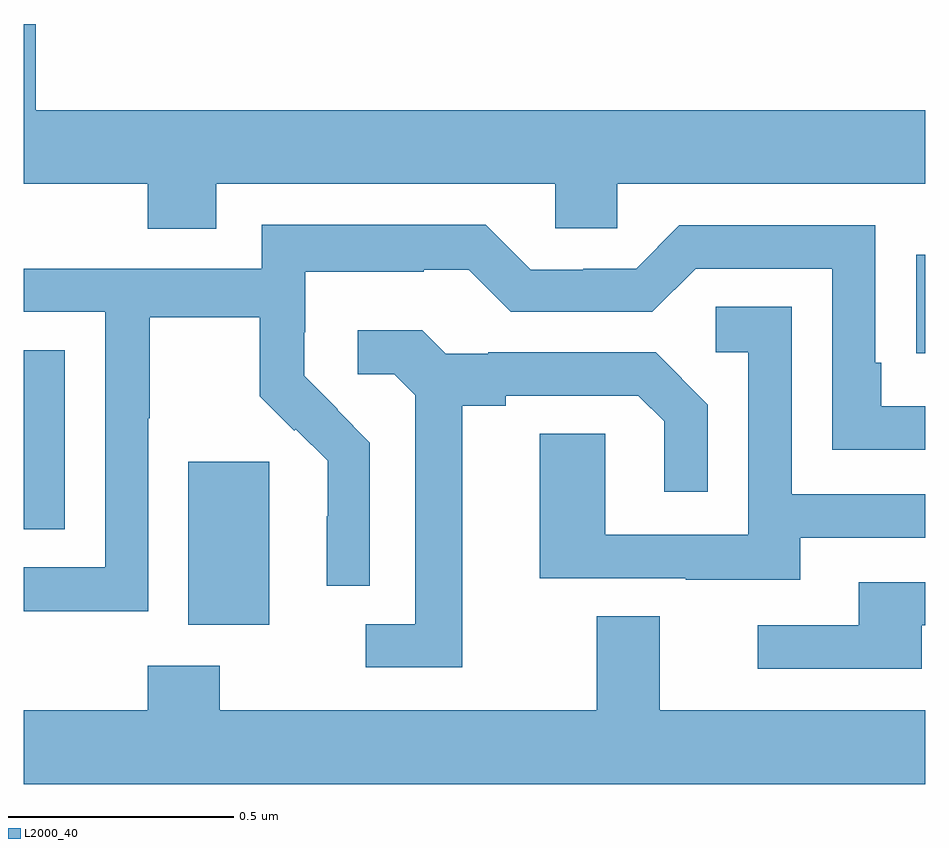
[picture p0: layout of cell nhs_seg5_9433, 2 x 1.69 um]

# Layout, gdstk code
import gdstk
lib = gdstk.Library(unit=1e-6, precision=1e-09)
def R(c, l, rs):  # rectangles x0, y0, x1, y1
    for r in rs: c.add(gdstk.rectangle(r[:2], r[2:], *l))
def P(c, l, *ps):  # polygons
    for p in ps: c.add(gdstk.Polygon(p, *l))
L2000_40 = (2000, 40)

nhs_seg5_9433 = lib.new_cell('nhs_seg5_9433')
R(nhs_seg5_9433, L2000_40, [(234.365,838.466,234.544,838.827), (234,838.678,234.091,839.075), (235.981,839.068,236,839.287)])
P(nhs_seg5_9433, L2000_40, [(234.427,839.444),(235.179,839.444),(235.179,839.346),(235.317,839.346),(235.317,839.444),(236,839.444),(236,839.608),(234.026,839.608),(234.026,839.799),(234,839.799),(234,839.444),(234.275,839.444),(234.275,839.345),(234.427,839.345)],
  [(234.276,838.924),(234.279,838.924),(234.279,839.148),(234.523,839.148),(234.523,838.973),(234.6,838.896),(234.603,838.899),(234.674,838.829),(234.674,838.706),(234.672,838.706),(234.672,838.552),(234.768,838.552),(234.768,838.87),(234.695,838.943),(234.696,838.944),(234.622,839.018),(234.622,839.115),(234.624,839.115),(234.624,839.249),(234.887,839.249),(234.887,839.253),(234.987,839.253),(235.08,839.16),(235.395,839.16),(235.491,839.256),(235.794,839.256),(235.794,838.854),(236,838.854),(236,838.95),(235.903,838.95),(235.903,839.047),(235.89,839.047),(235.89,839.352),(235.455,839.352),(235.359,839.256),(235.241,839.256),(235.241,839.253),(235.125,839.253),(235.025,839.353),(234.528,839.353),(234.528,839.256),(234,839.256),(234,839.16),(234.18,839.16),(234.18,838.593),(234,838.593),(234,838.495),(234.276,838.495)],
  [(235.723,838.659),(236,838.659),(236,838.755),(235.704,838.755),(235.704,839.171),(235.536,839.171),(235.536,839.07),(235.608,839.07),(235.608,838.665),(235.29,838.665),(235.29,838.889),(235.145,838.889),(235.145,838.569),(235.469,838.569),(235.469,838.565),(235.723,838.565)],
  [(234.973,838.952),(235.069,838.952),(235.069,838.974),(235.364,838.974),(235.421,838.917),(235.421,838.761),(235.518,838.761),(235.518,838.954),(235.402,839.07),(235.03,839.07),(235.03,839.067),(234.936,839.067),(234.884,839.119),(234.741,839.119),(234.741,839.022),(234.822,839.022),(234.869,838.975),(234.869,838.467),(234.759,838.467),(234.759,838.371),(234.973,838.371)],
  [(235.993,838.464),(236,838.464),(236,838.56),(235.853,838.56),(235.853,838.464),(235.629,838.464),(235.629,838.368),(235.993,838.368)],
  [(236,838.276),(235.411,838.276),(235.411,838.484),(235.271,838.484),(235.271,838.276),(234.435,838.276),(234.435,838.375),(234.275,838.375),(234.275,838.276),(234,838.276),(234,838.112),(236,838.112)])

lib.write_gds('nhs_seg5_9433.gds')
